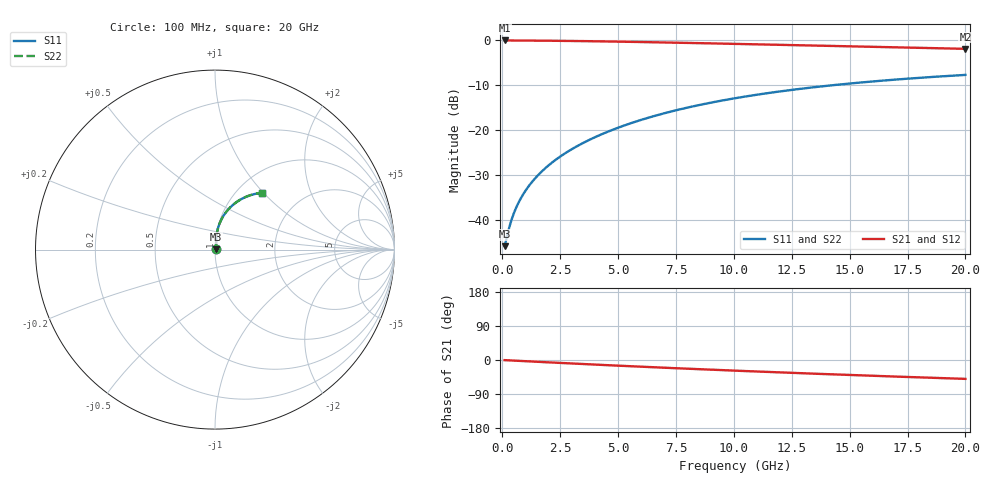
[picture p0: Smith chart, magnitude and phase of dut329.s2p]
! Touchstone file exported from HFSS 2024.1.0
!  File:  C:/UserFiles/LocalFiles/RDL_TSV_Batchsim/temp_RDL_top_329_1779607330.aedt
!  Generated:  03:24:39 PM May 24, 2026
!  Design:  RDL_top
!  Project:  temp_RDL_top_329_1779607330
!  Setup:  Setup1
!  Solution:  Sweep
! Variables:
!  dtsv = 10.80580581um
!  hbump = 3um
!  htsv = 72.55um
!  ldown = 100um
!  lrdl = 699.58um
!  p = 40
!  p1 = 56.22um
!  rhole = 1um
!  t = 450um
!  tdown = 3.915915916um
!  trdl = 2.25um
!  wdown = 15.38538539um
!  wrdl = 26.21um
# GHz S MA R 50.000000
! Terminal data exported
! Port[1] = Box2_T1
! Port[2] = Box2_T2
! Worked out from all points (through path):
!   200 points, 100 MHz to 20 GHz, reference 50 ohm
!   highest |S21| = -0.04 dB at 100 MHz (marker M1); lowest = -1.9 dB at 20 GHz (marker M2)
!   group delay of S21, straight-line fit = 6.86 ps
!   lowest |S11| = -45.9 dB at 100 MHz (marker M3), VSWR 1.01, Z = 50.5 + j0.226 ohm
!   |S11| at or under -10 dB: start of sweep to 14.32 GHz
!   |S22| runs from -45.9 to -7.7 dB; largest |S21 - S12| = 5e-15
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0.1  0.005048 26.4  0.9955 -0.3  0.9955 -0.3  0.005048 26.4
! Gamma 0 0 0 0
! Port Impedance 50 0 50 0
0.3  0.008155 53.3  0.995 -1.0  0.995 -1.0  0.008155 53.3
0.4  0.009959 59.3  0.9947 -1.3  0.9947 -1.3  0.009959 59.3
0.5  0.01178 63.4  0.9944 -1.6  0.9944 -1.6  0.01178 63.4
0.6  0.0136 66.4  0.9941 -1.9  0.9941 -1.9  0.0136 66.4
0.8  0.01725 70.8  0.9935 -2.5  0.9935 -2.5  0.01725 70.8
1  0.02094 73.8  0.9928 -3.1  0.9928 -3.1  0.02094 73.8
1.2  0.02469 76.0  0.9922 -3.8  0.9922 -3.8  0.02469 76.0
1.7  0.03431 79.6  0.9902 -5.3  0.9902 -5.3  0.03431 79.6
2.2  0.04429 81.6  0.9877 -6.8  0.9877 -6.8  0.04428 81.6
2.8  0.0567 82.9  0.984 -8.6  0.984 -8.6  0.05669 82.9
3.5  0.07176 83.5  0.979 -10.7  0.979 -10.7  0.07175 83.5
4.2  0.08738 83.4  0.9732 -12.7  0.9732 -12.7  0.08738 83.4
5  0.1058 82.8  0.9659 -15.0  0.9659 -15.0  0.1058 82.8
5.9  0.1271 81.6  0.9571 -17.4  0.9571 -17.4  0.1271 81.6
6.8  0.1487 80.0  0.9478 -19.9  0.9478 -19.9  0.1487 80.0
8.4  0.1871 76.6  0.9304 -24.0  0.9304 -24.0  0.1871 76.6
10.1  0.2268 72.6  0.9114 -28.2  0.9114 -28.2  0.2269 72.6
11.7  0.2625 68.8  0.8933 -32.0  0.8933 -32.0  0.2626 68.8
13.4  0.2981 64.7  0.8741 -36.0  0.8741 -36.0  0.2982 64.8
16.7  0.3596 57.2  0.8375 -43.1  0.8375 -43.1  0.3597 57.2
20  0.4109 50.3  0.8027 -49.8  0.8027 -49.8  0.411 50.3
